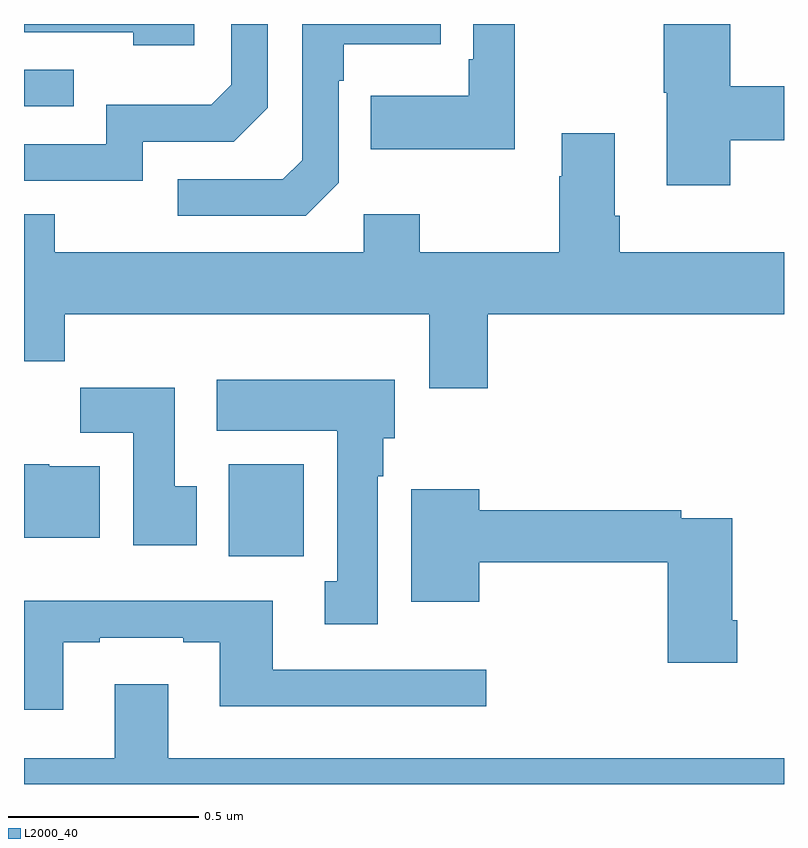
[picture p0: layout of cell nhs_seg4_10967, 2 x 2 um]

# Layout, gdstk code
import gdstk
lib = gdstk.Library(unit=1e-6, precision=1e-09)
def R(c, l, rs):  # rectangles x0, y0, x1, y1
    for r in rs: c.add(gdstk.rectangle(r[:2], r[2:], *l))
def P(c, l, *ps):  # polygons
    for p in ps: c.add(gdstk.Polygon(p, *l))
L2000_40 = (2000, 40)

nhs_seg4_10967 = lib.new_cell('nhs_seg4_10967')
R(nhs_seg4_10967, L2000_40, [(246.539,813.5,246.736,813.742), (246,814.683,246.131,814.779)])
P(nhs_seg4_10967, L2000_40, [(246.312,814.59),(246.552,814.59),(246.642,814.68),(246.642,814.9),(246.546,814.9),(246.546,814.74),(246.493,814.687),(246.216,814.687),(246.216,814.584),(246,814.584),(246,814.488),(246.312,814.488)],
  [(246.448,814.9),(246,814.9),(246,814.878),(246.287,814.878),(246.287,814.844),(246.448,814.844)],
  [(246.828,814.482),(246.828,814.751),(246.841,814.751),(246.841,814.847),(247.097,814.847),(247.097,814.9),(246.732,814.9),(246.732,814.542),(246.681,814.491),(246.405,814.491),(246.405,814.395),(246.741,814.395)],
  [(247.859,814.594),(248,814.594),(248,814.736),(247.859,814.736),(247.859,814.9),(247.684,814.9),(247.684,814.719),(247.691,814.719),(247.691,814.476),(247.859,814.476)],
  [(247.291,814.9),(247.182,814.9),(247.182,814.807),(247.17,814.807),(247.17,814.711),(246.913,814.711),(246.913,814.571),(247.291,814.571)],
  [(246,814.399),(246,814.012),(246.107,814.012),(246.107,814.136),(247.067,814.136),(247.067,813.942),(247.22,813.942),(247.22,814.136),(248,814.136),(248,814.3),(247.568,814.3),(247.568,814.396),(247.555,814.396),(247.555,814.612),(247.415,814.612),(247.415,814.499),(247.408,814.499),(247.408,814.3),(247.041,814.3),(247.041,814.399),(246.894,814.399),(246.894,814.3),(246.081,814.3),(246.081,814.399)],
  [(246.931,813.71),(246.946,813.71),(246.946,813.81),(246.976,813.81),(246.976,813.964),(246.507,813.964),(246.507,813.83),(246.824,813.83),(246.824,813.434),(246.791,813.434),(246.791,813.321),(246.931,813.321)],
  [(246.454,813.684),(246.397,813.684),(246.397,813.943),(246.148,813.943),(246.148,813.824),(246.287,813.824),(246.287,813.528),(246.454,813.528)],
  [(246.199,813.736),(246.066,813.736),(246.066,813.742),(246,813.742),(246,813.548),(246.199,813.548)],
  [(247.877,813.331),(247.864,813.331),(247.864,813.6),(247.73,813.6),(247.73,813.62),(247.198,813.62),(247.198,813.676),(247.019,813.676),(247.019,813.38),(247.198,813.38),(247.198,813.484),(247.694,813.484),(247.694,813.219),(247.877,813.219)],
  [(246.103,813.273),(246.199,813.273),(246.199,813.285),(246.419,813.285),(246.419,813.273),(246.515,813.273),(246.515,813.104),(247.216,813.104),(247.216,813.201),(246.655,813.201),(246.655,813.382),(246,813.382),(246,813.096),(246.103,813.096)],
  [(248,812.968),(246.379,812.968),(246.379,813.163),(246.239,813.163),(246.239,812.968),(246,812.968),(246,812.9),(248,812.9)])

lib.write_gds('nhs_seg4_10967.gds')
